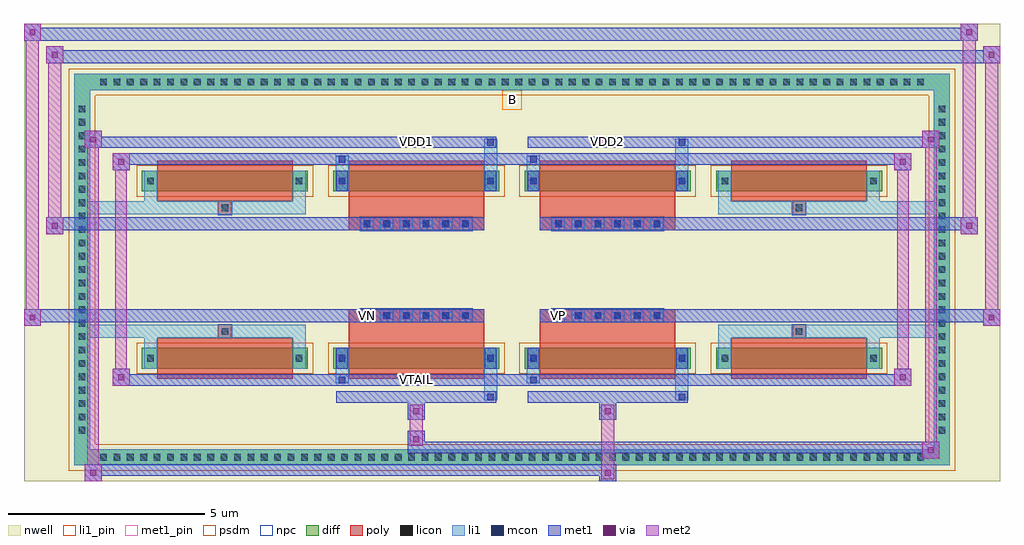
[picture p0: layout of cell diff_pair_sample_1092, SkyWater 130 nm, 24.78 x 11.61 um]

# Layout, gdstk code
import gdstk
lib = gdstk.Library(unit=1e-6, precision=5e-09)
def R(c, l, rs):  # rectangles x0, y0, x1, y1
    for r in rs: c.add(gdstk.rectangle(r[:2], r[2:], *l))
def A(c, l, x, y, w, h, nx, ny, dx, dy):  # array of equal rectangles
    R(c, l, [(x+i*dx, y+j*dy, x+i*dx+w, y+j*dy+h) for i in range(nx) for j in range(ny)])
def P(c, l, *ps):  # polygons
    for p in ps: c.add(gdstk.Polygon(p, *l))
nwell = (64, 20)
diff = (65, 20)
poly = (66, 20)
licon = (66, 44)
li1_pin = (67, 16)
li1 = (67, 20)
mcon = (67, 44)
met1_pin = (68, 16)
met1 = (68, 20)
via = (68, 44)
met2 = (69, 20)
psdm = (94, 20)
npc = (95, 20)

diff_pair_sample_1092 = lib.new_cell('diff_pair_sample_1092')
R(diff_pair_sample_1092, nwell, [(-12.39,-5.37,12.39,6.24), (-9.71,-3.56,-0.01,-0.8), (0.01,-3.56,9.71,-0.8), (-9.71,0.8,-0.01,3.56), (0.01,0.8,9.71,3.56)])
A(diff_pair_sample_1092, diff, -10.575, -4.97, 0.41, 0.41, 62, 2, 0.34, 9.53)
A(diff_pair_sample_1092, diff, -11.12, -4.285, 0.41, 0.41, 1, 25, 0, 0.34)
A(diff_pair_sample_1092, diff, 10.71, -4.285, 0.41, 0.41, 1, 25, 0, 0.34)
A(diff_pair_sample_1092, diff, -9.4, -2.515, 4.22, 0.53, 4, 2, 4.86, 4.5)
R(diff_pair_sample_1092, diff, [(-10.575,-4.97,10.575,-4.56), (-11.12,-4.285,-10.71,4.285), (10.71,-4.285,11.12,4.285), (-10.575,4.56,10.575,4.97)])
P(diff_pair_sample_1092, diff, [(11.12,4.97),(-11.12,4.97),(-11.12,-4.56),(-10.71,-4.56),(-10.71,4.56),(10.71,4.56),(10.71,-4.56),(-10.71,-4.56),(-11.12,-4.56),(-11.12,-4.97),(11.12,-4.97)])
A(diff_pair_sample_1092, poly, -9.01, -2.765, 3.44, 1.03, 4, 2, 4.86, 4.5)
A(diff_pair_sample_1092, poly, -3.845, -1.33, 0.33, 0.33, 6, 2, 0.5, 2.33)
A(diff_pair_sample_1092, poly, 1.015, -1.33, 0.33, 0.33, 6, 2, 0.5, 2.33)
R(diff_pair_sample_1092, poly, [(-7.455,-1.735,-7.125,-1.405), (-7.455,-1.735,-7.125,-1.405), (-4.15,-1.735,-0.71,-1.33), (0.71,-1.735,4.15,-1.33), (7.125,-1.735,7.455,-1.405), (7.125,-1.735,7.455,-1.405), (-4.15,-1.33,-0.71,-1), (0.71,-1.33,4.15,-1), (-4.15,1,-0.71,1.33), (0.71,1,4.15,1.33), (-4.15,1.33,-0.71,1.735), (0.71,1.33,4.15,1.735), (-7.455,1.405,-7.125,1.735), (-7.455,1.405,-7.125,1.735), (7.125,1.405,7.455,1.735), (7.125,1.405,7.455,1.735)])
A(diff_pair_sample_1092, licon, -10.455, -4.85, 0.17, 0.17, 62, 2, 0.34, 9.53)
A(diff_pair_sample_1092, licon, -11, -4.165, 0.17, 0.17, 1, 25, 0, 0.34)
A(diff_pair_sample_1092, licon, 10.83, -4.165, 0.17, 0.17, 1, 25, 0, 0.34)
A(diff_pair_sample_1092, licon, -3.765, -1.25, 0.17, 0.17, 6, 2, 0.5, 2.33)
A(diff_pair_sample_1092, licon, 1.095, -1.25, 0.17, 0.17, 6, 2, 0.5, 2.33)
R(diff_pair_sample_1092, licon, [(-9.26,-2.335,-9.09,-2.165), (-5.49,-2.335,-5.32,-2.165), (-4.4,-2.335,-4.23,-2.165), (-0.63,-2.335,-0.46,-2.165), (0.46,-2.335,0.63,-2.165), (4.23,-2.335,4.4,-2.165), (5.32,-2.335,5.49,-2.165), (9.09,-2.335,9.26,-2.165), (-7.375,-1.655,-7.205,-1.485), (7.205,-1.655,7.375,-1.485), (-7.375,1.485,-7.205,1.655), (7.205,1.485,7.375,1.655), (-9.26,2.165,-9.09,2.335), (-5.49,2.165,-5.32,2.335), (-4.4,2.165,-4.23,2.335), (-0.63,2.165,-0.46,2.335), (0.46,2.165,0.63,2.335), (4.23,2.165,4.4,2.335), (5.32,2.165,5.49,2.335), (9.09,2.165,9.26,2.335)])
R(diff_pair_sample_1092, li1_pin, [(-0.25,4.06,0.25,4.56)])
A(diff_pair_sample_1092, li1, -10.535, -4.93, 0.33, 0.33, 62, 2, 0.34, 9.53)
A(diff_pair_sample_1092, li1, -11.08, -4.245, 0.33, 0.33, 1, 25, 0, 0.34)
A(diff_pair_sample_1092, li1, 10.75, -4.245, 0.33, 0.33, 1, 25, 0, 0.34)
A(diff_pair_sample_1092, li1, -3.845, -1.33, 0.33, 0.33, 6, 2, 0.5, 2.33)
A(diff_pair_sample_1092, li1, 1.015, -1.33, 0.33, 0.33, 6, 2, 0.5, 2.33)
R(diff_pair_sample_1092, li1, [(-11.12,-4.97,-10.71,-4.56), (-11.12,-4.97,-10.71,-4.56), (-10.71,-4.97,10.71,-4.56), (10.71,-4.97,11.12,-4.56), (10.71,-4.97,11.12,-4.56), (-11.12,-4.56,-10.71,4.56), (10.71,-4.56,11.12,4.56), (-0.71,-3.32,-0.38,-2.515), (-0.63,-3.32,-0.46,-3.15), (4.15,-3.32,4.48,-2.515), (4.23,-3.32,4.4,-3.15), (-4.48,-2.89,-4.15,-2.515), (-4.4,-2.89,-4.23,-2.72), (0.38,-2.89,0.71,-2.515), (0.46,-2.89,0.63,-2.72), (-9.34,-2.515,-9.01,-1.985), (-5.57,-2.515,-5.24,-1.985), (-4.48,-2.515,-4.15,-1.985), (-0.71,-2.515,-0.38,-1.985), (0.38,-2.515,0.71,-1.985), (4.15,-2.515,4.48,-1.985), (5.24,-2.515,5.57,-1.985), (9.01,-2.515,9.34,-1.985), (-9.34,-2.415,-9.01,-2.085), (-5.57,-2.415,-5.24,-2.085), (-4.48,-2.415,-4.15,-2.085), (-0.71,-2.415,-0.38,-2.085), (0.38,-2.415,0.71,-2.085), (4.15,-2.415,4.48,-2.085), (5.24,-2.415,5.57,-2.085), (9.01,-2.415,9.34,-2.085), (-4.4,-2.335,-4.23,-2.165), (-4.4,-2.335,-4.23,-2.165), (-0.63,-2.335,-0.46,-2.165), (-0.63,-2.335,-0.46,-2.165), (0.46,-2.335,0.63,-2.165), (0.46,-2.335,0.63,-2.165), (4.23,-2.335,4.4,-2.165), (4.23,-2.335,4.4,-2.165), (-9.34,-1.985,-9.01,-1.405), (-5.57,-1.985,-5.24,-1.405), (5.24,-1.985,5.57,-1.405), (9.01,-1.985,9.34,-1.405), (-11.12,-1.735,-7.455,-1.405), (-9.34,-1.735,-7.455,-1.405), (-7.455,-1.735,-7.125,-1.405), (-7.125,-1.735,-5.24,-1.405), (5.24,-1.735,7.125,-1.405), (7.125,-1.735,7.455,-1.405), (7.125,-1.735,11.12,-1.405), (7.455,-1.735,9.34,-1.405), (-11.12,1.405,-7.455,1.735), (-9.34,1.405,-7.455,1.735), (-9.34,1.405,-9.01,1.985), (-7.455,1.405,-7.125,1.735), (-7.125,1.405,-5.24,1.735), (-5.57,1.405,-5.24,1.985), (5.24,1.405,7.125,1.735), (5.24,1.405,5.57,1.985), (7.125,1.405,7.455,1.735), (7.125,1.405,11.12,1.735), (7.455,1.405,9.34,1.735), (9.01,1.405,9.34,1.985), (-9.34,1.985,-9.01,2.515), (-5.57,1.985,-5.24,2.515), (-4.48,1.985,-4.15,2.515), (-0.71,1.985,-0.38,2.515), (0.38,1.985,0.71,2.515), (4.15,1.985,4.48,2.515), (5.24,1.985,5.57,2.515), (9.01,1.985,9.34,2.515), (-9.34,2.085,-9.01,2.415), (-5.57,2.085,-5.24,2.415), (-4.48,2.085,-4.15,2.415), (-0.71,2.085,-0.38,2.415), (0.38,2.085,0.71,2.415), (4.15,2.085,4.48,2.415), (5.24,2.085,5.57,2.415), (9.01,2.085,9.34,2.415), (-4.4,2.165,-4.23,2.335), (-4.4,2.165,-4.23,2.335), (-0.63,2.165,-0.46,2.335), (-0.63,2.165,-0.46,2.335), (0.46,2.165,0.63,2.335), (0.46,2.165,0.63,2.335), (4.23,2.165,4.4,2.335), (4.23,2.165,4.4,2.335), (-4.48,2.515,-4.15,2.89), (-0.71,2.515,-0.38,3.32), (0.38,2.515,0.71,2.89), (4.15,2.515,4.48,3.32), (-4.4,2.72,-4.23,2.89), (0.46,2.72,0.63,2.89), (-0.63,3.15,-0.46,3.32), (4.23,3.15,4.4,3.32), (-11.12,4.56,-10.71,4.97), (-11.12,4.56,-10.71,4.97), (-10.71,4.56,10.71,4.97), (10.71,4.56,11.12,4.97), (10.71,4.56,11.12,4.97)])
A(diff_pair_sample_1092, mcon, -3.765, -1.25, 0.17, 0.17, 6, 2, 0.5, 2.33)
A(diff_pair_sample_1092, mcon, 1.095, -1.25, 0.17, 0.17, 6, 2, 0.5, 2.33)
R(diff_pair_sample_1092, mcon, [(-0.63,-3.32,-0.46,-3.15), (4.23,-3.32,4.4,-3.15), (-4.4,-2.89,-4.23,-2.72), (0.46,-2.89,0.63,-2.72), (-4.4,-2.335,-4.23,-2.165), (-0.63,-2.335,-0.46,-2.165), (0.46,-2.335,0.63,-2.165), (4.23,-2.335,4.4,-2.165), (-4.4,2.165,-4.23,2.335), (-0.63,2.165,-0.46,2.335), (0.46,2.165,0.63,2.335), (4.23,2.165,4.4,2.335), (-4.4,2.72,-4.23,2.89), (0.46,2.72,0.63,2.89), (-0.63,3.15,-0.46,3.32), (4.23,3.15,4.4,3.32)])
R(diff_pair_sample_1092, met1_pin, [(-2.565,-2.93,-2.295,-2.66), (-3.815,-1.29,-3.545,-1.02), (1.045,-1.29,1.315,-1.02), (-2.565,3.11,-2.295,3.38), (2.295,3.11,2.565,3.38)])
A(diff_pair_sample_1092, met1, -3.825, -1.31, 0.29, 0.29, 6, 2, 0.5, 2.33)
A(diff_pair_sample_1092, met1, 1.035, -1.31, 0.29, 0.29, 6, 2, 0.5, 2.33)
R(diff_pair_sample_1092, met1, [(-10.85,-5.37,-10.42,-4.94), (2.215,-5.37,2.645,-4.94), (-10.85,-5.23,2.645,-4.94), (10.42,-4.8,10.85,-4.37), (-2.645,-4.66,10.85,-4.37), (-2.645,-4.52,-2.215,-4.09), (-2.645,-3.81,-2.215,-3.38), (2.215,-3.81,2.645,-3.38), (-4.46,-3.38,-0.4,-3.09), (-0.69,-3.38,-0.4,-3.09), (0.4,-3.38,4.46,-3.09), (4.17,-3.38,4.46,-3.09), (-10.14,-2.95,-9.71,-2.52), (-10.14,-2.95,-4.46,-2.66), (-4.46,-2.95,-4.17,-2.66), (-4.46,-2.95,-0.4,-2.66), (-0.4,-2.95,0.4,-2.66), (0.4,-2.95,0.69,-2.66), (0.4,-2.95,4.46,-2.66), (4.46,-2.95,10.14,-2.66), (9.71,-2.95,10.14,-2.52), (-4.46,-2.515,-4.17,-1.985), (-0.69,-2.515,-0.4,-1.985), (0.4,-2.515,0.69,-1.985), (4.17,-2.515,4.46,-1.985), (-4.46,-2.395,-4.17,-2.105), (-0.69,-2.395,-0.4,-2.105), (0.4,-2.395,0.69,-2.105), (4.17,-2.395,4.46,-2.105), (-12.39,-1.43,-11.96,-1), (11.96,-1.43,12.39,-1), (-12.39,-1.33,-0.71,-1), (-4.15,-1.33,-0.71,-1), (0.71,-1.33,4.15,-1), (0.71,-1.33,12.39,-1), (-11.82,0.9,-11.39,1.33), (11.39,0.9,11.82,1.33), (-11.82,1,-4.15,1.33), (-4.15,1,-0.71,1.33), (0.71,1,4.15,1.33), (4.15,1,11.82,1.33), (-4.46,1.985,-4.17,2.515), (-0.69,1.985,-0.4,2.515), (0.4,1.985,0.69,2.515), (4.17,1.985,4.46,2.515), (-4.46,2.105,-4.17,2.395), (-0.69,2.105,-0.4,2.395), (0.4,2.105,0.69,2.395), (4.17,2.105,4.46,2.395), (-10.14,2.52,-9.71,2.95), (9.71,2.52,10.14,2.95), (-10.14,2.66,-4.46,2.95), (-4.46,2.66,-4.17,2.95), (-4.46,2.66,-0.4,2.95), (-0.4,2.66,0.4,2.95), (0.4,2.66,0.69,2.95), (0.4,2.66,4.46,2.95), (4.46,2.66,10.14,2.95), (-10.85,3.09,-10.42,3.52), (-10.85,3.09,-4.46,3.38), (-4.46,3.09,-0.4,3.38), (-0.69,3.09,-0.4,3.38), (0.4,3.09,4.46,3.38), (4.17,3.09,4.46,3.38), (4.46,3.09,10.85,3.38), (10.42,3.09,10.85,3.52), (-11.82,5.24,-11.39,5.67), (-11.82,5.24,-9.71,5.57), (-9.71,5.24,9.71,5.57), (9.71,5.24,12.39,5.57), (11.96,5.24,12.39,5.67), (-12.39,5.81,-11.96,6.24), (-12.39,5.81,-9.71,6.14), (-9.71,5.81,9.71,6.14), (9.71,5.81,11.82,6.14), (11.39,5.81,11.82,6.24)])
R(diff_pair_sample_1092, via, [(-10.71,-5.23,-10.56,-5.08), (2.355,-5.23,2.505,-5.08), (10.56,-4.66,10.71,-4.51), (-2.505,-4.38,-2.355,-4.23), (-2.505,-3.67,-2.355,-3.52), (2.355,-3.67,2.505,-3.52), (-10,-2.81,-9.85,-2.66), (9.85,-2.81,10,-2.66), (-12.25,-1.29,-12.1,-1.14), (12.1,-1.29,12.25,-1.14), (-11.68,1.04,-11.53,1.19), (11.53,1.04,11.68,1.19), (-10,2.66,-9.85,2.81), (9.85,2.66,10,2.81), (-10.71,3.23,-10.56,3.38), (10.56,3.23,10.71,3.38), (-11.68,5.38,-11.53,5.53), (12.1,5.38,12.25,5.53), (-12.25,5.95,-12.1,6.1), (11.53,5.95,11.68,6.1)])
R(diff_pair_sample_1092, met2, [(-10.85,-5.37,-10.42,-4.94), (-10.78,-5.37,-10.49,3.52), (-10.49,-5.37,-10.42,-4.94), (-10.8,-5.32,-10.47,-4.99), (2.265,-5.32,2.595,-4.99), (2.265,-4.99,2.595,-3.76), (10.42,-4.8,10.85,-4.37), (10.49,-4.8,10.78,3.52), (10.78,-4.8,10.85,-4.37), (10.47,-4.75,10.8,-4.42), (-2.595,-4.47,-2.265,-4.14), (-2.595,-4.14,-2.265,-3.76), (-2.595,-3.76,-2.265,-3.43), (2.265,-3.76,2.595,-3.43), (-10.14,-2.95,-9.71,-2.52), (-10.07,-2.95,-9.78,2.95), (-9.78,-2.95,-9.71,-2.52), (9.71,-2.95,10.14,-2.52), (9.78,-2.95,10.07,2.95), (10.07,-2.95,10.14,-2.52), (-10.09,-2.9,-9.76,-2.57), (9.76,-2.9,10.09,-2.57), (-12.39,-1.43,-11.96,-1), (-12.34,-1.43,-12.01,6.24), (-12.01,-1.43,-11.96,-1), (11.96,-1.43,12.39,-1), (12.01,-1.43,12.34,5.67), (12.34,-1.43,12.39,-1), (-12.34,-1.38,-12.01,-1.05), (12.01,-1.38,12.34,-1.05), (-11.82,0.9,-11.39,1.33), (-11.77,0.9,-11.44,5.67), (-11.44,0.9,-11.39,1.33), (11.39,0.9,11.82,1.33), (11.44,0.9,11.77,6.24), (11.77,0.9,11.82,1.33), (-11.77,0.95,-11.44,1.28), (11.44,0.95,11.77,1.28), (-10.14,2.52,-9.71,2.95), (-9.78,2.52,-9.71,2.95), (9.71,2.52,10.14,2.95), (10.07,2.52,10.14,2.95), (-10.09,2.57,-9.76,2.9), (9.76,2.57,10.09,2.9), (-10.85,3.09,-10.42,3.52), (-10.49,3.09,-10.42,3.52), (10.42,3.09,10.85,3.52), (10.78,3.09,10.85,3.52), (-10.8,3.14,-10.47,3.47), (10.47,3.14,10.8,3.47), (-11.82,5.24,-11.39,5.67), (-11.44,5.24,-11.39,5.67), (11.96,5.24,12.39,5.67), (12.34,5.24,12.39,5.67), (-11.77,5.29,-11.44,5.62), (12.01,5.29,12.34,5.62), (-12.39,5.81,-11.96,6.24), (-12.01,5.81,-11.96,6.24), (11.39,5.81,11.82,6.24), (11.77,5.81,11.82,6.24), (-12.34,5.86,-12.01,6.19), (11.44,5.86,11.77,6.19)])
A(diff_pair_sample_1092, psdm, -9.53, -2.645, 4.48, 0.79, 4, 2, 4.86, 4.5)
P(diff_pair_sample_1092, psdm, [(11.25,5.1),(-11.25,5.1),(-11.25,-4.43),(-10.58,-4.43),(-10.58,4.43),(10.58,4.43),(10.58,-4.43),(-10.58,-4.43),(-11.25,-4.43),(-11.25,-5.1),(11.25,-5.1)])
A(diff_pair_sample_1092, npc, -3.865, -1.35, 0.37, 0.37, 6, 2, 0.5, 2.33)
A(diff_pair_sample_1092, npc, 0.995, -1.35, 0.37, 0.37, 6, 2, 0.5, 2.33)
R(diff_pair_sample_1092, npc, [(-7.475,-1.755,-7.105,-1.385), (7.105,-1.755,7.475,-1.385), (-3.865,-1.35,-2.995,-0.98), (-3.865,-1.35,-2.995,-0.98), (-3.365,-1.35,-2.495,-0.98), (-3.365,-1.35,-2.495,-0.98), (-2.865,-1.35,-1.995,-0.98), (-2.865,-1.35,-1.995,-0.98), (-2.365,-1.35,-1.495,-0.98), (-2.365,-1.35,-1.495,-0.98), (-1.865,-1.35,-0.995,-0.98), (-1.865,-1.35,-0.995,-0.98), (0.995,-1.35,1.865,-0.98), (0.995,-1.35,1.865,-0.98), (1.495,-1.35,2.365,-0.98), (1.495,-1.35,2.365,-0.98), (1.995,-1.35,2.865,-0.98), (1.995,-1.35,2.865,-0.98), (2.495,-1.35,3.365,-0.98), (2.495,-1.35,3.365,-0.98), (2.995,-1.35,3.865,-0.98), (2.995,-1.35,3.865,-0.98), (-3.865,0.98,-2.995,1.35), (-3.865,0.98,-2.995,1.35), (-3.365,0.98,-2.495,1.35), (-3.365,0.98,-2.495,1.35), (-2.865,0.98,-1.995,1.35), (-2.865,0.98,-1.995,1.35), (-2.365,0.98,-1.495,1.35), (-2.365,0.98,-1.495,1.35), (-1.865,0.98,-0.995,1.35), (-1.865,0.98,-0.995,1.35), (0.995,0.98,1.865,1.35), (0.995,0.98,1.865,1.35), (1.495,0.98,2.365,1.35), (1.495,0.98,2.365,1.35), (1.995,0.98,2.865,1.35), (1.995,0.98,2.865,1.35), (2.495,0.98,3.365,1.35), (2.495,0.98,3.365,1.35), (2.995,0.98,3.865,1.35), (2.995,0.98,3.865,1.35), (-7.475,1.385,-7.105,1.755), (7.105,1.385,7.475,1.755)])
diff_pair_sample_1092.add(gdstk.Label('VTAIL', (-2.43,-2.795), layer=68, texttype=5))
diff_pair_sample_1092.add(gdstk.Label('VN', (-3.68,-1.155), layer=68, texttype=5))
diff_pair_sample_1092.add(gdstk.Label('VP', (1.18,-1.155), layer=68, texttype=5))
diff_pair_sample_1092.add(gdstk.Label('B', (0,4.31), layer=67, texttype=5))
diff_pair_sample_1092.add(gdstk.Label('VDD2', (2.43,3.245), layer=68, texttype=5))
diff_pair_sample_1092.add(gdstk.Label('VDD1', (-2.43,3.245), layer=68, texttype=5))

lib.write_gds('diff_pair_sample_1092.gds')
